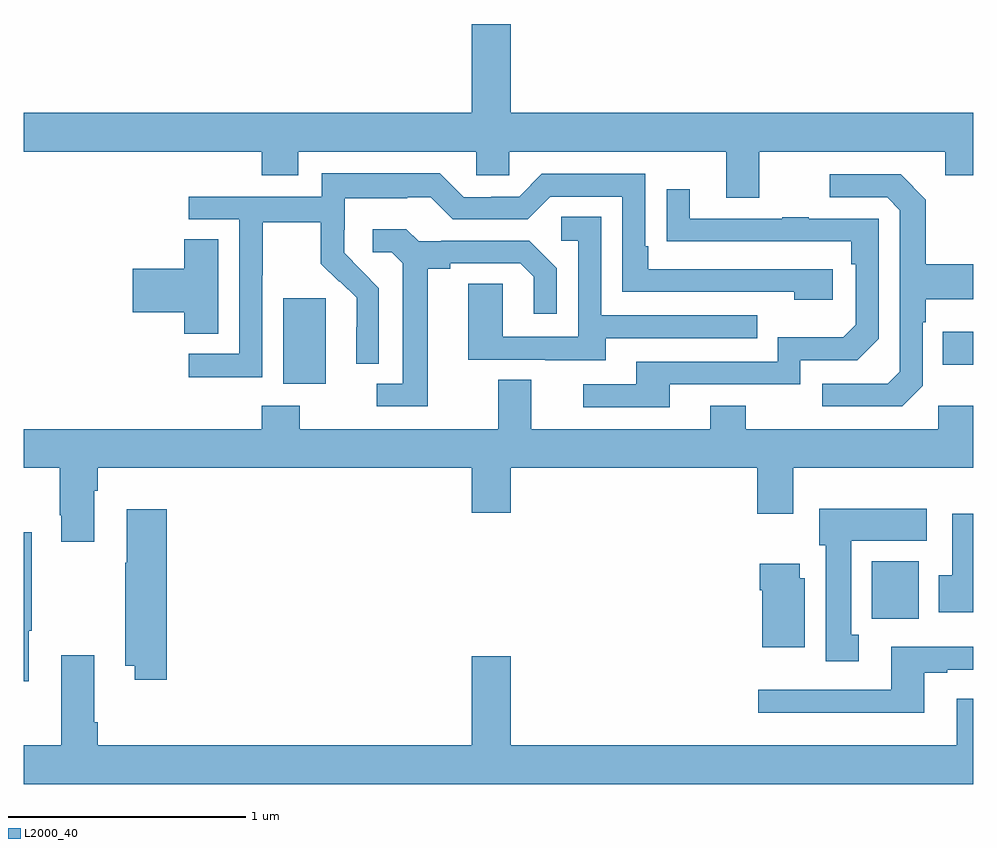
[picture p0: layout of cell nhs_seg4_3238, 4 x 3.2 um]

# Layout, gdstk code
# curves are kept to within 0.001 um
import gdstk
lib = gdstk.Library(unit=1e-6, precision=1e-09)
def R(c, l, rs):  # rectangles x0, y0, x1, y1
    for r in rs: c.add(gdstk.rectangle(r[:2], r[2:], *l))
def P(c, l, *ps):  # polygons
    for p in ps: c.add(gdstk.Polygon(p, *l))
L2000_40 = (2000, 40)

nhs_seg4_3238 = lib.new_cell('nhs_seg4_3238')
R(nhs_seg4_3238, L2000_40, [(286.574,752.228,286.771,752.47), (284.093,753.218,284.272,753.579), (286.873,753.299,287,753.439)])
P(nhs_seg4_3238, L2000_40, [(286.099,754.196),(286.883,754.196),(286.883,754.097),(287,754.097),(287,754.36),(285.052,754.36),(285.052,754.735),(284.888,754.735),(284.888,754.36),(283,754.36),(283,754.196),(284.003,754.196),(284.003,754.097),(284.155,754.097),(284.155,754.196),(284.907,754.196),(284.907,754.098),(285.045,754.098),(285.045,754.196),(285.959,754.196),(285.959,754.002),(286.099,754.002)],
  [(283.908,753.912),(283.908,753.345),(283.695,753.345),(283.695,753.247),(284.004,753.247),(284.004,753.676),(284.007,753.676),(284.007,753.9),(284.251,753.9),(284.251,753.725),(284.328,753.648),(284.331,753.651),(284.402,753.581),(284.402,753.458),(284.4,753.458),(284.4,753.304),(284.496,753.304),(284.496,753.622),(284.35,753.77),(284.35,753.867),(284.352,753.867),(284.352,754.001),(284.615,754.001),(284.615,754.005),(284.715,754.005),(284.808,753.912),(285.123,753.912),(285.219,754.008),(285.522,754.008),(285.522,753.606),(286.247,753.606),(286.247,753.572),(286.408,753.572),(286.408,753.702),(285.631,753.702),(285.631,753.799),(285.618,753.799),(285.618,754.104),(285.183,754.104),(285.087,754.008),(284.969,754.008),(284.969,754.005),(284.853,754.005),(284.753,754.105),(284.256,754.105),(284.256,754.008),(283.695,754.008),(283.695,753.912)],
  [(286.788,753.21),(286.788,753.479),(286.801,753.479),(286.801,753.575),(287,753.575),(287,753.723),(286.801,753.723),(286.801,753.995),(286.695,754.101),(286.395,754.101),(286.395,754.005),(286.638,754.005),(286.692,753.951),(286.692,753.27),(286.641,753.219),(286.365,753.219),(286.365,753.123),(286.701,753.123)],
  [(285.721,753.216),(286.272,753.216),(286.272,753.318),(286.512,753.318),(286.602,753.408),(286.602,753.915),(286.307,753.915),(286.307,753.92),(286.195,753.92),(286.195,753.915),(285.805,753.915),(285.805,754.039),(285.709,754.039),(285.709,753.82),(286.486,753.819),(286.486,753.722),(286.506,753.722),(286.506,753.468),(286.453,753.415),(286.176,753.415),(286.176,753.312),(285.581,753.312),(285.581,753.216),(285.357,753.216),(285.357,753.12),(285.721,753.12)],
  [(285.451,753.411),(286.091,753.411),(286.091,753.507),(285.432,753.507),(285.432,753.923),(285.264,753.923),(285.264,753.822),(285.336,753.822),(285.336,753.417),(285.018,753.417),(285.018,753.641),(284.873,753.641),(284.873,753.321),(285.197,753.321),(285.197,753.317),(285.451,753.317)],
  [(284.701,753.704),(284.797,753.704),(284.797,753.726),(285.092,753.726),(285.149,753.669),(285.149,753.513),(285.246,753.513),(285.246,753.706),(285.13,753.822),(284.758,753.822),(284.758,753.819),(284.664,753.819),(284.612,753.871),(284.469,753.871),(284.469,753.774),(284.55,753.774),(284.597,753.727),(284.597,753.219),(284.487,753.219),(284.487,753.123),(284.701,753.123)],
  [(283.819,753.827),(283.676,753.827),(283.676,753.704),(283.458,753.704),(283.458,753.521),(283.676,753.521),(283.676,753.43),(283.819,753.43)],
  [(283.297,752.768),(283.31,752.768),(283.31,752.864),(284.888,752.864),(284.888,752.676),(285.052,752.676),(285.052,752.864),(286.091,752.864),(286.091,752.67),(286.243,752.67),(286.243,752.864),(287,752.864),(287,753.127),(286.854,753.127),(286.854,753.028),(286.041,753.028),(286.041,753.127),(285.893,753.127),(285.893,753.028),(285.139,753.028),(285.139,753.236),(284.999,753.236),(284.999,753.028),(284.163,753.028),(284.163,753.127),(284.003,753.127),(284.003,753.028),(283,753.028),(283,752.864),(283.15,752.864),(283.15,752.665),(283.157,752.665),(283.157,752.553),(283.297,752.553)],
  [(286.519,752.162),(286.486,752.162),(286.486,752.558),(286.804,752.558),(286.804,752.692),(286.352,752.692),(286.352,752.538),(286.379,752.538),(286.379,752.049),(286.519,752.049)],
  [(283.601,752.689),(283.433,752.689),(283.433,752.465),(283.426,752.465),(283.426,752.03),(283.466,752.03),(283.466,751.971),(283.601,751.971)],
  [(287,752.67),(286.913,752.67),(286.913,752.412),(286.856,752.412),(286.856,752.256),(287,752.256)],
  [(283.021,752.177),(283.033,752.177),(283.033,752.593),(283,752.593),(283,751.965),(283.021,751.965)],
  [(286.291,752.4),(286.27,752.4),(286.27,752.461),(286.1,752.461),(286.1,752.348),(286.112,752.348),(286.112,752.108),(286.291,752.108)],
  [(286.795,752.001),(286.891,752.001),(286.891,752.013),(287,752.013),(287,752.11),(286.655,752.11),(286.655,751.929),(286.095,751.929),(286.095,751.832),(286.795,751.832)],
  [(287,751.891),(286.931,751.891),(286.931,751.696),(285.052,751.696),(285.052,752.071),(284.888,752.071),(284.888,751.696),(283.31,751.696),(283.31,751.792),(283.297,751.792),(283.297,752.074),(283.157,752.074),(283.157,751.696),(283,751.696),(283,751.532),(287,751.532)])

lib.write_gds('nhs_seg4_3238.gds')
